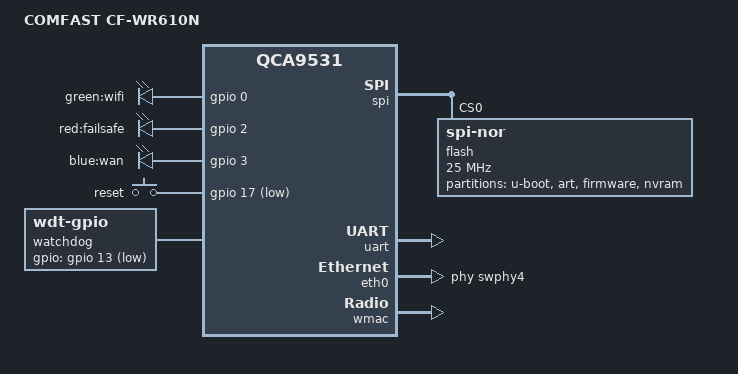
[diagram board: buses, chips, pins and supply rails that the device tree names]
// SPDX-License-Identifier: GPL-2.0-or-later OR MIT

#include "qca953x.dtsi"

#include <dt-bindings/gpio/gpio.h>
#include <dt-bindings/input/input.h>

/ {
	compatible = "comfast,cf-wr610n", "qca,qca9531";
	model = "COMFAST CF-WR610N";

	aliases {
		serial0 = &uart;
		led-boot = &wan;
		led-failsafe = &failsafe;
		led-upgrade = &failsafe;
		label-mac-device = &eth1;
	};

	leds {
		compatible = "gpio-leds";

		wifi {
			label = "green:wifi";
			gpios = <&gpio 0 GPIO_ACTIVE_HIGH>;
			linux,default-trigger = "phy0tpt";
		};

		failsafe:failsafe {
			label = "red:failsafe";
			gpios = <&gpio 2 GPIO_ACTIVE_HIGH>;
		};

		wan:wan {
			label = "blue:wan";
			gpios = <&gpio 3 GPIO_ACTIVE_HIGH>;
		};
	};

	keys {
		compatible = "gpio-keys";

		reset {
			label = "reset";
			linux,code = <KEY_RESTART>;
			gpios = <&gpio 17 GPIO_ACTIVE_LOW>;
			debounce-interval = <60>;
		};
	};

	watchdog {
		compatible = "linux,wdt-gpio";
		gpios = <&gpio 13 GPIO_ACTIVE_LOW>;
		hw_algo = "toggle";
		hw_margin_ms = <1000>;
	};
};

&spi {
	status = "okay";

	flash@0 {
		compatible = "jedec,spi-nor";
		reg = <0>;
		spi-max-frequency = <25000000>;

		partitions {
			compatible = "fixed-partitions";
			#address-cells = <1>;
			#size-cells = <1>;

			partition@0 {
				label = "u-boot";
				reg = <0x000000 0x010000>;
				read-only;
			};

			art: partition@10000 {
				label = "art";
				reg = <0x010000 0x010000>;
				read-only;
			};

			partition@20000 {
				compatible = "denx,uimage";
				label = "firmware";
				reg = <0x020000 0xfd0000>;
			};

			partition@ff0000 {
				label = "nvram";
				reg = <0xff0000 0x010000>;
				read-only;
			};
		};
	};
};

&uart {
	status = "okay";
};

&eth0 {
	status = "okay";

	mtd-mac-address = <&art 0x6>;
	phy-handle = <&swphy4>;
};

&eth1 {
	mtd-mac-address = <&art 0x0>;

	gmac-config {
		device = <&gmac>;
		switch-phy-swap = <0>;
	};
};

&wmac {
	status = "okay";

	mtd-cal-data = <&art 0x1000>;
};
